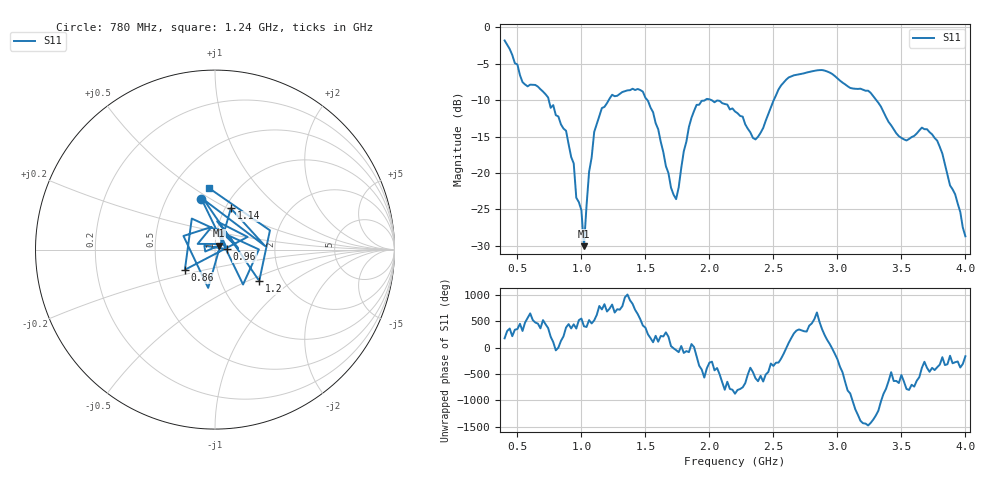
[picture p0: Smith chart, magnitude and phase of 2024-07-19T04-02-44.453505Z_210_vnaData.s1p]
!Created with skrf (http://scikit-rf.org).
# Hz S RI R 50.0
!freq ReS11 ImS11
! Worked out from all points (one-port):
!   181 points, 400 MHz to 4 GHz, reference 50 ohm
!   lowest |S11| = -30.1 dB at 1.02 GHz (marker M1), VSWR 1.06, Z = 52.2 + j2.33 ohm
!   |S11| at or under -10 dB: 745.3 MHz to 1.213 GHz (467.6 MHz wide, 47.8 % of centre); 2.018 GHz to 2.502 GHz (484.5 MHz wide, 21.4 % of centre); 3.305 GHz to end of sweep (the widest 3 of 4)
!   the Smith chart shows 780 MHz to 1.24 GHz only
!   S11 on the Smith chart (normalised r, x): 780 MHz: 0.74, +0.46; 860 MHz: 0.70, -0.16; 960 MHz: 1.14, +0.01; 1.14 GHz: 1.06, +0.52; 1.2 GHz: 1.52, -0.58; 1.24 GHz: 0.74, +0.58
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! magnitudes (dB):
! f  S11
! 400 MHz  -1.8
! 540 MHz  -7.5
! 780 MHz  -10.7
! 860 MHz  -13.9
! 940 MHz  -18.7
! 960 MHz  -23.4
! 1 GHz  -25.1
! 1.02 GHz  -30.1
! 1.06 GHz  -19.8
! 1.14 GHz  -12.2
! 1.2 GHz  -10.4
! 1.24 GHz  -9.3
! 1.3 GHz  -9.1
! 1.48 GHz  -8.8
! 1.6 GHz  -14.0
! 1.72 GHz  -23.0
! 1.76 GHz  -22.0
! 1.84 GHz  -13.7
! 1.9 GHz  -10.6
! 2.2 GHz  -11.5
! 2.36 GHz  -15.4
! 2.66 GHz  -6.6
! 3.1 GHz  -8.3
! 3.26 GHz  -9.0
! 3.56 GHz  -15.3
! 3.66 GHz  -13.8
! 3.78 GHz  -15.6
! 4 GHz  -28.7
